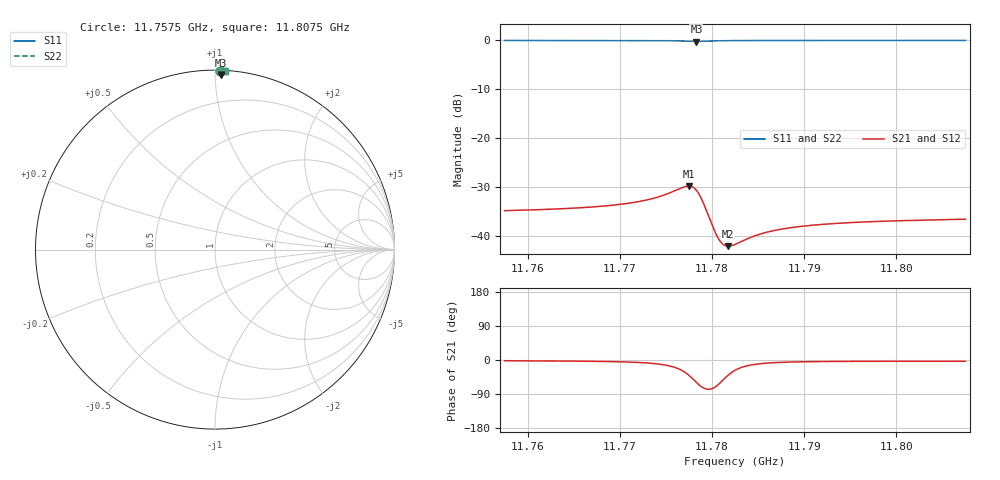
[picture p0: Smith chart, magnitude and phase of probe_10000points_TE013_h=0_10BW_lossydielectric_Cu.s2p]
! TOUCHSTONE file generated by CST MICROWAVE STUDIO
! Date and time: Wed Feb 24 11:16:14 2021
! Project name: h=5.58_TE013.cst
! Parameters = {bD=17; cp=1; h=5.58; hl=0; icl=0.1; inD=0.51; oD=2.2; rD=4; tD=1.68; vD=11}
! Header version: 2018
! Port assignment regex: !\s*Touchstone port\s*([0-9]+)\s*=\s*(CST MWS port|CST DS port)\s*([0-9]+|Zmin|Zmax)\s*\(\"(.*)\"\)(\s*mode\s*([0-9]+))?.*
! Touchstone port assignment:
! Touchstone port 1 = CST MWS port 1 ("")
! Touchstone port 2 = CST MWS port 2 ("")
# GHz S MA R 50
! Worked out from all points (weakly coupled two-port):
!   10001 points, 11.7575 GHz to 11.8075 GHz, reference 50 ohm
!   highest |S21| = -29.84 dB at 11.7775 GHz (marker M1); lowest = -42.1 dB at 11.7818 GHz (marker M2)
!   lowest |S11| = -0.2 dB at 11.7783 GHz (marker M3), VSWR 73.70, Z = 1.41 + j51.8 ohm
!   |S11| at or under -10 dB: nowhere
!   |S22| runs from -0.2 to 0.0 dB; largest |S21 - S12| = 8.3e-05
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11.7575  0.9975 88.5  0.01806 -2.0  0.018 -2.1  0.9975 88.3
11.76583  0.9972 88.2  0.01936 -3.1  0.01933 -3.3  0.9971 88.0
11.77079  0.9964 87.9  0.02139 -5.3  0.02136 -5.4  0.9964 87.7
11.77262  0.9955 87.8  0.0229 -7.3  0.02287 -7.4  0.9955 87.6
11.77417  0.994 87.6  0.02493 -10.6  0.02491 -10.6  0.994 87.4
11.77683  0.9836 87.3  0.03126 -28.9  0.0313 -28.9  0.9836 87.1
11.77747  0.978 87.5  0.0322 -39.8  0.03226 -39.8  0.978 87.2
11.77791  0.9746 87.7  0.03146 -49.4  0.03151 -49.5  0.9745 87.5
11.77831  0.9732 88.0  0.02916 -59.2  0.02915 -59.1  0.9732 87.8
11.77863  0.974 88.2  0.02628 -66.2  0.02633 -66.2  0.9739 88.0
11.77896  0.9763 88.4  0.02269 -72.2  0.02277 -72.2  0.9762 88.2
11.78015  0.9864 88.6  0.01194 -74.1  0.01194 -74.3  0.9863 88.4
11.78064  0.9892 88.6  0.009524 -65.8  0.009509 -65.9  0.9892 88.4
11.78119  0.9914 88.5  0.008189 -53.2  0.008173 -53.2  0.9914 88.3
11.78177  0.993 88.4  0.007815 -39.8  0.007806 -39.8  0.9929 88.2
11.7825  0.9943 88.3  0.008141 -27.2  0.008141 -27.2  0.9943 88.1
11.78437  0.9959 88.2  0.009747 -12.6  0.009755 -12.6  0.9959 87.9
11.78603  0.9966 88.0  0.0109 -8.1  0.01091 -8.1  0.9966 87.8
11.78815  0.997 87.9  0.01193 -5.6  0.01194 -5.7  0.997 87.7
11.79083  0.9973 87.8  0.01279 -4.3  0.0128 -4.4  0.9973 87.6
11.79917  0.9975 87.4  0.01413 -3.4  0.01412 -3.4  0.9975 87.2
11.8075  0.9976 87.1  0.01475 -3.3  0.01473 -3.4  0.9976 86.9
